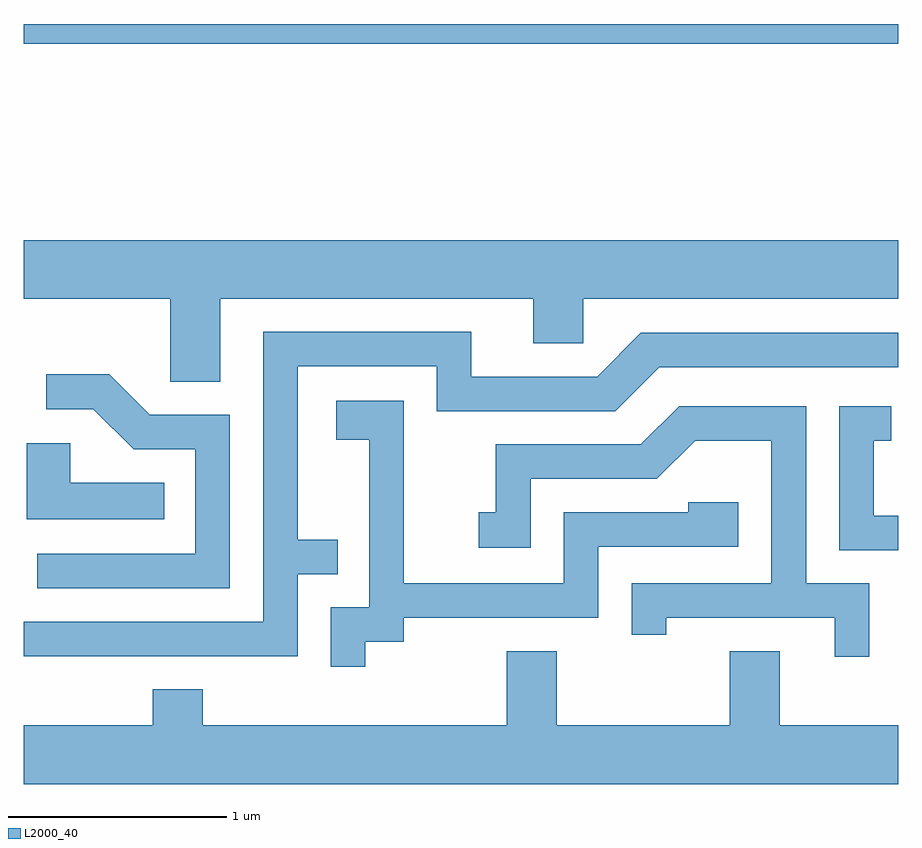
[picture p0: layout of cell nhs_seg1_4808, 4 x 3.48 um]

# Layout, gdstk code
import gdstk
lib = gdstk.Library(unit=1e-6, precision=1e-09)
def R(c, l, rs):  # rectangles x0, y0, x1, y1
    for r in rs: c.add(gdstk.rectangle(r[:2], r[2:], *l))
def P(c, l, *ps):  # polygons
    for p in ps: c.add(gdstk.Polygon(p, *l))
L2000_40 = (2000, 40)

nhs_seg1_4808 = lib.new_cell('nhs_seg1_4808')
R(nhs_seg1_4808, L2000_40, [(329.611,909.621,333.611,909.712)])
P(nhs_seg1_4808, L2000_40, [(330.509,908.456),(331.941,908.456),(331.941,908.251),(332.169,908.251),(332.169,908.456),(333.611,908.456),(333.611,908.724),(329.611,908.724),(329.611,908.456),(330.281,908.456),(330.281,908.076),(330.509,908.076)],
  [(330.864,907.196),(331.048,907.196),(331.048,907.354),(330.864,907.354),(330.864,908.146),(331.501,908.146),(331.501,907.941),(332.317,907.941),(332.517,908.141),(333.611,908.141),(333.611,908.299),(332.434,908.299),(332.234,908.099),(331.659,908.099),(331.659,908.304),(330.706,908.304),(330.706,906.979),(329.611,906.979),(329.611,906.821),(330.864,906.821)],
  [(330.554,907.924),(330.187,907.924),(330.002,908.109),(329.713,908.109),(329.713,907.951),(329.929,907.951),(330.114,907.766),(330.396,907.766),(330.396,907.289),(329.673,907.289),(329.673,907.131),(330.554,907.131)],
  [(331.174,906.886),(331.349,906.886),(331.349,906.996),(332.239,906.996),(332.239,907.321),(332.879,907.321),(332.879,907.524),(332.651,907.524),(332.651,907.479),(332.081,907.479),(332.081,907.154),(331.349,907.154),(331.349,907.989),(331.041,907.989),(331.041,907.811),(331.191,907.811),(331.191,907.044),(331.016,907.044),(331.016,906.773),(331.174,906.773)],
  [(333.611,907.464),(333.499,907.464),(333.499,907.806),(333.578,907.806),(333.578,907.964),(333.341,907.964),(333.341,907.306),(333.611,907.306)],
  [(333.479,907.154),(333.189,907.154),(333.189,907.964),(332.609,907.964),(332.434,907.789),(331.771,907.789),(331.771,907.479),(331.693,907.479),(331.693,907.316),(331.929,907.316),(331.929,907.631),(332.507,907.631),(332.682,907.806),(333.031,907.806),(333.031,907.154),(332.391,907.154),(332.391,906.918),(332.549,906.918),(332.549,906.996),(333.321,906.996),(333.321,906.818),(333.479,906.818)],
  [(330.253,907.614),(329.824,907.614),(329.824,907.794),(329.626,907.794),(329.626,907.446),(330.253,907.446)],
  [(333.611,906.504),(333.069,906.504),(333.069,906.844),(332.841,906.844),(332.841,906.504),(332.049,906.504),(332.049,906.844),(331.821,906.844),(331.821,906.504),(330.429,906.504),(330.429,906.669),(330.201,906.669),(330.201,906.504),(329.611,906.504),(329.611,906.236),(333.611,906.236)])

lib.write_gds('nhs_seg1_4808.gds')
